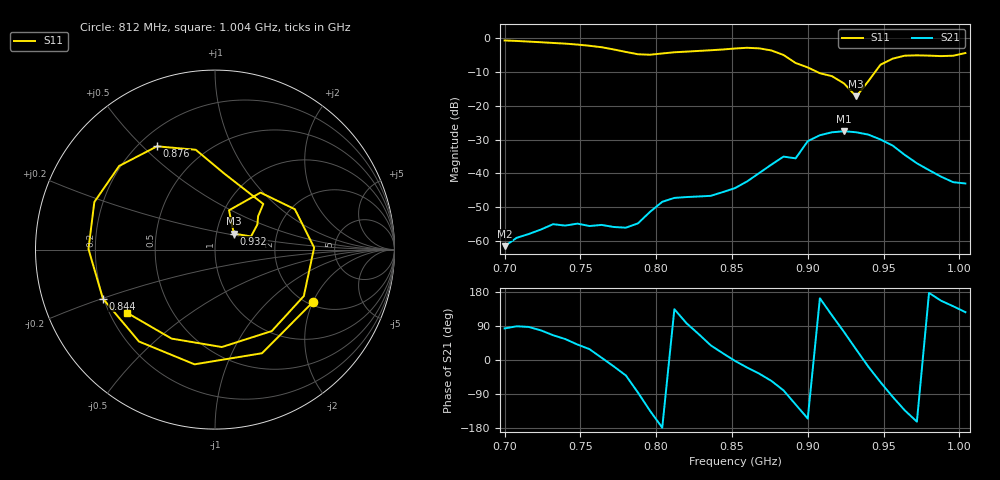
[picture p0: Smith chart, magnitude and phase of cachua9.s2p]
# Hz S RI R 50
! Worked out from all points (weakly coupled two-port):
!   39 points, 700 MHz to 1.004 GHz, reference 50 ohm
!   highest |S21| = -27.51 dB at 924 MHz (marker M1); lowest = -61.5 dB at 700 MHz (marker M2)
!   lowest |S11| = -17.2 dB at 932 MHz (marker M3), VSWR 1.32, Z = 60.6 + j11 ohm
!   |S11| at or under -10 dB: 906.4 MHz to 944.4 MHz (38.02 MHz wide, 4.11 % of centre)
!   S12 and S22 are empty: the file has one direction only
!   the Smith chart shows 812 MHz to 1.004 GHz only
!   S11 on the Smith chart (normalised r, x): 812 MHz: 2.14, -2.01; 844 MHz: 0.20, -0.20; 876 MHz: 0.27, +0.55; 932 MHz: 1.21, +0.22; 1.004 GHz: 0.27, -0.30
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7e8  0.7613 0.5294  9.79e-05 0.000836  0 0  0 0
7.24e8  0.8337 -0.2575  0.000305 0.00145  0 0  0 0
7.4e8  0.4463 -0.7027  0.000965 0.00139  0 0  0 0
7.56e8  -0.1924 -0.7493  0.00147 0.000799  0 0  0 0
7.72e8  -0.6538 -0.1957  0.00155 -0.00047  0 0  0 0
7.8e8  -0.5843 0.2275  0.00119 -0.00103  0 0  0 0
7.88e8  -0.2344 0.5303  0.000126 -0.00183  0 0  0 0
7.96e8  0.2518 0.5115  -0.0019 -0.00194  0 0  0 0
8.04e8  0.5727 0.1633  -0.00381 -9.67e-05  0 0  0 0
8.12e8  0.5484 -0.2892  -0.00303 0.00313  0 0  0 0
8.28e8  -0.1141 -0.6392  0.00167 0.00425  0 0  0 0
8.44e8  -0.6247 -0.2728  0.00506 0.00162  0 0  0 0
8.52e8  -0.705 0.00357  0.00607 -0.000249  0 0  0 0
8.76e8  -0.3229 0.5754  0.00774 -0.0111  0 0  0 0
9e8  0.269 0.2543  -0.0271 -0.013  0 0  0 0
9.08e8  0.2403 0.1861  -0.0352 0.0108  0 0  0 0
9.24e8  0.2009 0.0733  0.0119 0.0404  0 0  0 0
9.32e8  0.105 0.089  0.0361 0.0188  0 0  0 0
9.56e8  0.4449 0.225  -0.00318 -0.0257  0 0  0 0
9.64e8  0.5524 0.0112  -0.0128 -0.0138  0 0  0 0
9.8e8  0.3165 -0.4538  -0.0112 0.000574  0 0  0 0
1.004e9  -0.4913 -0.3514  -0.00421 0.00574  0 0  0 0
